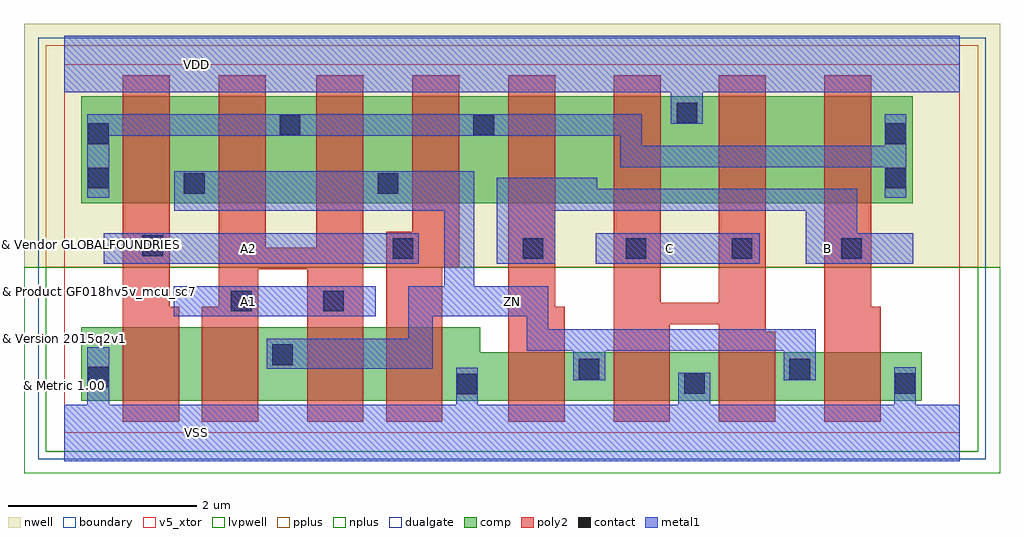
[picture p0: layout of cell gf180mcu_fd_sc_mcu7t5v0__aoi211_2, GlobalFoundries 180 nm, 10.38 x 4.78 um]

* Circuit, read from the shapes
.subckt gf180mcu_fd_sc_mcu7t5v0__aoi211_2 A1 A2 B C VDD VSS ZN
XM1 n1 A2 VSS VSUBS nfet_05v0 w=0.78u l=0.6u
XM2 ZN A1 n1 VSUBS nfet_05v0 w=0.78u l=0.6u
XM3 n2 A1 ZN VSUBS nfet_05v0 w=0.78u l=0.6u
XM4 VSS A2 n2 VSUBS nfet_05v0 w=0.78u l=0.6u
XM5 ZN B VSS VSUBS nfet_05v0 w=0.515u l=0.6u m=2
XM6 VSS C ZN VSUBS nfet_05v0 w=0.515u l=0.6u m=2
XM7 ZN A2 n3 n4 pfet_05v0 w=1.14u l=0.5u m=2
XM8 n3 A1 ZN n4 pfet_05v0 w=1.14u l=0.5u m=2
XM9 n5 B n3 n4 pfet_05v0 w=1.14u l=0.5u
XM10 VDD C n5 n4 pfet_05v0 w=1.14u l=0.5u
XM11 n6 C VDD n4 pfet_05v0 w=1.14u l=0.5u
XM12 n3 B n6 n4 pfet_05v0 w=1.14u l=0.5u
.ends

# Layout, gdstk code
import gdstk
lib = gdstk.Library(unit=1e-6, precision=1e-09)
def R(c, l, rs):  # rectangles x0, y0, x1, y1
    for r in rs: c.add(gdstk.rectangle(r[:2], r[2:], *l))
def P(c, l, *ps):  # polygons
    for p in ps: c.add(gdstk.Polygon(p, *l))
boundary = (0, 0)
nwell = (21, 0)
comp = (22, 0)
poly2 = (30, 0)
pplus = (31, 0)
nplus = (32, 0)
contact = (33, 0)
metal1 = (34, 0)
dualgate = (55, 0)
v5_xtor = (112, 1)
lvpwell = (204, 0)

gf180mcu_fd_sc_mcu7t5v0_ = lib.new_cell('gf180mcu_fd_sc_mcu7t5v0__aoi211_2')
R(gf180mcu_fd_sc_mcu7t5v0_, boundary, [(0,0,9.52,3.92)])
R(gf180mcu_fd_sc_mcu7t5v0_, nwell, [(-0.43,1.76,9.95,4.35)])
R(gf180mcu_fd_sc_mcu7t5v0_, comp, [(0.18,2.44,9.02,3.58)])
P(gf180mcu_fd_sc_mcu7t5v0_, comp, [(0.18,0.34),(0.18,1.12),(4.42,1.12),(4.42,0.855),(9.12,0.855),(9.12,0.34)])
P(gf180mcu_fd_sc_mcu7t5v0_, poly2, [(0.62,0.12),(0.62,3.8),(1.12,3.8),(1.12,1.34),(1.22,1.34),(1.22,0.12)],
  [(1.46,0.12),(1.46,1.34),(1.64,1.34),(1.64,3.8),(2.14,3.8),(2.14,1.97),(2.68,1.97),(2.68,3.8),(3.18,3.8),(3.18,0.12),(2.58,0.12),(2.58,1.74),(2.06,1.74),(2.06,0.12)],
  [(3.42,0.12),(3.42,2.14),(3.7,2.14),(3.7,3.8),(4.2,3.8),(4.2,1.76),(4.02,1.76),(4.02,0.12)],
  [(4.72,0.12),(4.72,3.8),(5.22,3.8),(5.22,1.34),(5.32,1.34),(5.32,0.12)],
  [(5.84,0.12),(5.84,3.8),(6.34,3.8),(6.34,1.385),(6.96,1.385),(6.96,3.8),(7.46,3.8),(7.46,1.075),(7.56,1.075),(7.56,0.12),(6.96,0.12),(6.96,1.155),(6.44,1.155),(6.44,0.12)],
  [(8.08,0.12),(8.08,3.8),(8.58,3.8),(8.58,1.34),(8.68,1.34),(8.68,0.12)])
R(gf180mcu_fd_sc_mcu7t5v0_, pplus, [(-0.2,1.76,9.72,4.12)])
R(gf180mcu_fd_sc_mcu7t5v0_, nplus, [(-0.2,-0.2,9.72,1.76)])
R(gf180mcu_fd_sc_mcu7t5v0_, contact, [(4.17,0.41,4.39,0.63), (6.59,0.415,6.81,0.635), (8.83,0.415,9.05,0.635), (0.25,0.485,0.47,0.705), (5.47,0.565,5.69,0.785), (7.71,0.565,7.93,0.785), (2.21,0.72,2.43,0.94), (1.77,1.29,1.99,1.51), (2.75,1.29,2.97,1.51), (3.49,1.85,3.71,2.07), (4.875,1.85,5.095,2.07), (5.97,1.85,6.19,2.07), (7.095,1.85,7.315,2.07), (8.26,1.85,8.48,2.07), (0.83,1.88,1.05,2.1), (1.27,2.54,1.49,2.76), (3.33,2.54,3.55,2.76), (0.25,2.6,0.47,2.82), (8.73,2.6,8.95,2.82), (0.25,3.07,0.47,3.29), (8.73,3.07,8.95,3.29), (2.29,3.165,2.51,3.385), (4.35,3.165,4.57,3.385), (6.51,3.29,6.73,3.51)])
R(gf180mcu_fd_sc_mcu7t5v0_, metal1, [(1.16,1.24,3.31,1.56), (0.42,1.8,3.77,2.12), (5.65,1.8,7.395,2.12)])
P(gf180mcu_fd_sc_mcu7t5v0_, metal1, [(5.41,0.56),(5.41,0.87),(4.915,0.87),(4.915,1.24),(3.915,1.24),(3.915,0.68),(2.15,0.68),(2.15,1),(3.655,1),(3.655,1.56),(4.04,1.56),(4.04,2.36),(1.17,2.36),(1.17,2.78),(4.36,2.78),(4.36,1.56),(5.145,1.56),(5.145,1.1),(7.99,1.1),(7.99,0.56),(7.65,0.56),(7.65,0.87),(5.75,0.87),(5.75,0.56)],
  [(0.245,2.5),(0.245,3.39),(6.14,3.39),(6.14,3.055),(8.725,3.055),(8.725,3.39),(8.955,3.39),(8.955,2.5),(8.725,2.5),(8.725,2.825),(5.91,2.825),(5.91,3.16),(0.475,3.16),(0.475,2.5)],
  [(4.6,1.8),(4.6,2.71),(5.665,2.71),(5.665,2.595),(8.43,2.595),(8.43,2.12),(9.025,2.12),(9.025,1.8),(7.885,1.8),(7.885,2.36),(5.22,2.36),(5.22,1.8)],
  [(0,-0.3),(0,0.3),(0.245,0.3),(0.245,0.91),(0.475,0.91),(0.475,0.3),(4.165,0.3),(4.165,0.69),(4.395,0.69),(4.395,0.3),(6.53,0.3),(6.53,0.64),(6.87,0.64),(6.87,0.3),(8.825,0.3),(8.825,0.695),(9.055,0.695),(9.055,0.3),(9.52,0.3),(9.52,-0.3)],
  [(6.45,3.285),(6.45,3.62),(0,3.62),(0,4.22),(9.52,4.22),(9.52,3.62),(6.79,3.62),(6.79,3.285)])
R(gf180mcu_fd_sc_mcu7t5v0_, dualgate, [(-0.28,-0.28,9.8,4.2)])
R(gf180mcu_fd_sc_mcu7t5v0_, v5_xtor, [(0,0,9.52,3.92)])
R(gf180mcu_fd_sc_mcu7t5v0_, lvpwell, [(-0.43,-0.43,9.95,1.76)])
gf180mcu_fd_sc_mcu7t5v0_.add(gdstk.Label('B', (8.12,1.96), layer=34, texttype=10))
gf180mcu_fd_sc_mcu7t5v0_.add(gdstk.Label('C', (6.44,1.96), layer=34, texttype=10))
gf180mcu_fd_sc_mcu7t5v0_.add(gdstk.Label('VDD', (1.4,3.92), layer=34, texttype=10))
gf180mcu_fd_sc_mcu7t5v0_.add(gdstk.Label('VSS', (1.4,0), layer=34, texttype=10))
gf180mcu_fd_sc_mcu7t5v0_.add(gdstk.Label('ZN', (4.76,1.4), layer=34, texttype=10))
gf180mcu_fd_sc_mcu7t5v0_.add(gdstk.Label('A1', (1.96,1.4), layer=34, texttype=10))
gf180mcu_fd_sc_mcu7t5v0_.add(gdstk.Label('A2', (1.96,1.96), layer=34, texttype=10))
gf180mcu_fd_sc_mcu7t5v0_.add(gdstk.Label('& Vendor GLOBALFOUNDRIES', (0,2), layer=63, texttype=63))
gf180mcu_fd_sc_mcu7t5v0_.add(gdstk.Label('& Product GF018hv5v_mcu_sc7', (0,1.5), layer=63, texttype=63))
gf180mcu_fd_sc_mcu7t5v0_.add(gdstk.Label('& Version 2015q2v1', (0,1), layer=63, texttype=63))
gf180mcu_fd_sc_mcu7t5v0_.add(gdstk.Label('& Metric 1.00', (0,0.5), layer=63, texttype=63))

lib.write_gds('gf180mcu_fd_sc_mcu7t5v0__aoi211_2.gds')
